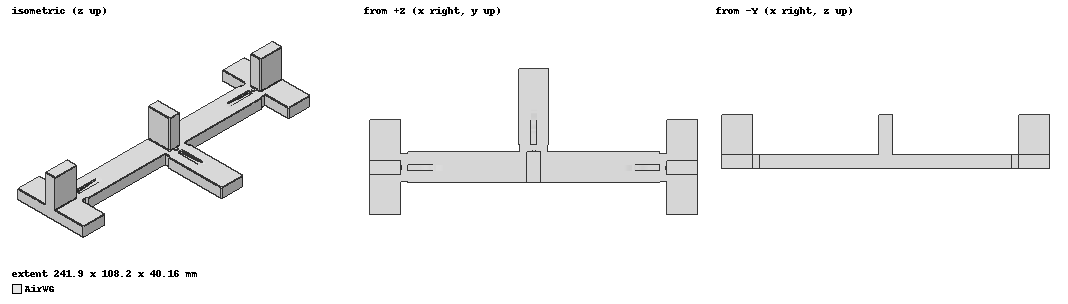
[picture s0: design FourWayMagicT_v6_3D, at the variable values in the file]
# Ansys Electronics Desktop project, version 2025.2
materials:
  vacuum: permittivity=1
  pec: conductivity=1e+30
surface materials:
  Steel-oxidised-surface

design FourWayMagicT_v6_3D (HFSS, HFSS Modal Network, model units mm)
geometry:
  AirWG [vacuum] = box(corner=(-35mm, -11.43mm, -5.08mm), size=(70mm, 22.86mm, 10.16mm))
  HArmAir = box(corner=(-11.43mm, 11.43mm, -5.08mm), size=(22.86mm, 61.729mm, 10.16mm))
  EArmAir = box(corner=(-5.08mm, -11.43mm, 5.08mm), size=(10.16mm, 22.86mm, 30mm))
  AirWG.unite(HArmAir, EArmAir)
  HThroat1Wall_Left = box(corner=(-11.43mm, 11.43mm, -5.08mm), size=(1.23mm, 5.5mm, 10.16mm))
  HThroat1Wall_Right = box(corner=(10.2mm, 11.43mm, -5.08mm), size=(1.23mm, 5.5mm, 10.16mm))
  AirWG.subtract(HThroat1Wall_Left, HThroat1Wall_Right)
  JunctionPost_Lower = cylinder(axis=Z, base_centre=(0mm, 0mm, -5.08mm), radius=1.4mm, height=6.2mm)
  JunctionPost_Upper = cylinder(axis=Z, base_centre=(0mm, 0mm, 1.12mm), radius=0.9mm, height=10.05mm)
  AirWG.subtract(JunctionPost_Lower, JunctionPost_Upper)
  JunctionPost_Top = cylinder(axis=Z, base_centre=(0mm, 13.43mm, 4.38mm), radius=1.5mm, height=0.7mm)
  JunctionPost_Bottom = cylinder(axis=Z, base_centre=(0mm, 13.43mm, -5.08mm), radius=1.5mm, height=0.7mm)
  AirWG.subtract(JunctionPost_Top, JunctionPost_Bottom)
  RidgeTop_terminal = box(corner=(-2.286mm, 16.93mm, 2.9mm), size=(4.572mm, 7.5mm, 2.18mm))
  RidgeBot_terminal = box(corner=(-2.286mm, 16.93mm, -5.08mm), size=(4.572mm, 7.5mm, 2.18mm))
  RidgeTop_00 = box(corner=(-2.286mm, 24.43mm, 2.9045879mm), size=(4.572mm, 0.780375mm, 2.1754121mm))
  RidgeBot_00 = box(corner=(-2.286mm, 24.43mm, -5.08mm), size=(4.572mm, 0.780375mm, 2.1754121mm))
  RidgeTop_01 = box(corner=(-2.286mm, 25.210375mm, 2.9390217mm), size=(4.572mm, 0.780375mm, 2.1409783mm))
  RidgeBot_01 = box(corner=(-2.286mm, 25.210375mm, -5.08mm), size=(4.572mm, 0.780375mm, 2.1409783mm))
  RidgeTop_02 = box(corner=(-2.286mm, 25.99075mm, 3.0025054mm), size=(4.572mm, 0.780375mm, 2.0774946mm))
  RidgeBot_02 = box(corner=(-2.286mm, 25.99075mm, -5.08mm), size=(4.572mm, 0.780375mm, 2.0774946mm))
  RidgeTop_03 = box(corner=(-2.286mm, 26.771125mm, 3.0898004mm), size=(4.572mm, 0.780375mm, 1.9901996mm))
  RidgeBot_03 = box(corner=(-2.286mm, 26.771125mm, -5.08mm), size=(4.572mm, 0.780375mm, 1.9901996mm))
  RidgeTop_04 = box(corner=(-2.286mm, 27.5515mm, 3.1955498mm), size=(4.572mm, 0.780375mm, 1.8844502mm))
  RidgeBot_04 = box(corner=(-2.286mm, 27.5515mm, -5.08mm), size=(4.572mm, 0.780375mm, 1.8844502mm))
  RidgeTop_05 = box(corner=(-2.286mm, 28.331875mm, 3.3138448mm), size=(4.572mm, 0.780375mm, 1.7661552mm))
  RidgeBot_05 = box(corner=(-2.286mm, 28.331875mm, -5.08mm), size=(4.572mm, 0.780375mm, 1.7661552mm))
  RidgeTop_06 = box(corner=(-2.286mm, 29.11225mm, 3.4378987mm), size=(4.572mm, 0.780375mm, 1.6421013mm))
  RidgeBot_06 = box(corner=(-2.286mm, 29.11225mm, -5.08mm), size=(4.572mm, 0.780375mm, 1.6421013mm))
  RidgeTop_07 = box(corner=(-2.286mm, 29.892625mm, 3.5598461mm), size=(4.572mm, 0.780375mm, 1.5201539mm))
  RidgeBot_07 = box(corner=(-2.286mm, 29.892625mm, -5.08mm), size=(4.572mm, 0.780375mm, 1.5201539mm))
  RidgeTop_08 = box(corner=(-2.286mm, 30.673mm, 3.6707051mm), size=(4.572mm, 0.780375mm, 1.4092949mm))
  RidgeBot_08 = box(corner=(-2.286mm, 30.673mm, -5.08mm), size=(4.572mm, 0.780375mm, 1.4092949mm))
  RidgeTop_09 = box(corner=(-2.286mm, 31.453375mm, 3.760545mm), size=(4.572mm, 0.780375mm, 1.319455mm))
  RidgeBot_09 = box(corner=(-2.286mm, 31.453375mm, -5.08mm), size=(4.572mm, 0.780375mm, 1.319455mm))
  RidgeTop_10 = box(corner=(-2.286mm, 32.23375mm, 3.8188977mm), size=(4.572mm, 0.780375mm, 1.2611023mm))
  RidgeBot_10 = box(corner=(-2.286mm, 32.23375mm, -5.08mm), size=(4.572mm, 0.780375mm, 1.2611023mm))
  RidgeTop_11 = box(corner=(-2.286mm, 33.014125mm, 3.8364529mm), size=(4.572mm, 0.780375mm, 1.2435471mm))
  RidgeBot_11 = box(corner=(-2.286mm, 33.014125mm, -5.08mm), size=(4.572mm, 0.780375mm, 1.2435471mm))
  RidgeTop_12 = box(corner=(-2.286mm, 33.7945mm, 3.8611898mm), size=(4.572mm, 0.780375mm, 1.2188102mm))
  RidgeBot_12 = box(corner=(-2.286mm, 33.7945mm, -5.08mm), size=(4.572mm, 0.780375mm, 1.2188102mm))
  RidgeTop_13 = box(corner=(-2.286mm, 34.574875mm, 3.9197126mm), size=(4.572mm, 0.780375mm, 1.1602874mm))
  RidgeBot_13 = box(corner=(-2.286mm, 34.574875mm, -5.08mm), size=(4.572mm, 0.780375mm, 1.1602874mm))
  RidgeTop_14 = box(corner=(-2.286mm, 35.35525mm, 4.006877mm), size=(4.572mm, 0.780375mm, 1.073123mm))
  RidgeBot_14 = box(corner=(-2.286mm, 35.35525mm, -5.08mm), size=(4.572mm, 0.780375mm, 1.073123mm))
  RidgeTop_15 = box(corner=(-2.286mm, 36.135625mm, 4.1176881mm), size=(4.572mm, 0.780375mm, 0.96231194mm))
  RidgeBot_15 = box(corner=(-2.286mm, 36.135625mm, -5.08mm), size=(4.572mm, 0.780375mm, 0.96231194mm))
  RidgeTop_16 = box(corner=(-2.286mm, 36.916mm, 4.2469137mm), size=(4.572mm, 0.780375mm, 0.83308627mm))
  RidgeBot_16 = box(corner=(-2.286mm, 36.916mm, -5.08mm), size=(4.572mm, 0.780375mm, 0.83308627mm))
  RidgeTop_17 = box(corner=(-2.286mm, 37.696375mm, 4.3887711mm), size=(4.572mm, 0.780375mm, 0.69122892mm))
  RidgeBot_17 = box(corner=(-2.286mm, 37.696375mm, -5.08mm), size=(4.572mm, 0.780375mm, 0.69122892mm))
  RidgeTop_18 = box(corner=(-2.286mm, 38.47675mm, 4.5366872mm), size=(4.572mm, 0.780375mm, 0.54331279mm))
  RidgeBot_18 = box(corner=(-2.286mm, 38.47675mm, -5.08mm), size=(4.572mm, 0.780375mm, 0.54331279mm))
  RidgeTop_19 = box(corner=(-2.286mm, 39.257125mm, 4.6831502mm), size=(4.572mm, 0.780375mm, 0.39684976mm))
  RidgeBot_19 = box(corner=(-2.286mm, 39.257125mm, -5.08mm), size=(4.572mm, 0.780375mm, 0.39684976mm))
  RidgeTop_20 = box(corner=(-2.286mm, 40.0375mm, 4.8196735mm), size=(4.572mm, 0.780375mm, 0.26032653mm))
  RidgeBot_20 = box(corner=(-2.286mm, 40.0375mm, -5.08mm), size=(4.572mm, 0.780375mm, 0.26032653mm))
  RidgeTop_21 = box(corner=(-2.286mm, 40.817875mm, 4.9369001mm), size=(4.572mm, 0.780375mm, 0.14309991mm))
  RidgeBot_21 = box(corner=(-2.286mm, 40.817875mm, -5.08mm), size=(4.572mm, 0.780375mm, 0.14309991mm))
  RidgeTop_22 = box(corner=(-2.286mm, 41.59825mm, 5.0248741mm), size=(4.572mm, 0.780375mm, 0.055125897mm))
  RidgeBot_22 = box(corner=(-2.286mm, 41.59825mm, -5.08mm), size=(4.572mm, 0.780375mm, 0.055125897mm))
  RidgeTop_23 = box(corner=(-2.286mm, 42.378625mm, 5.0734932mm), size=(4.572mm, 0.780375mm, 0.0065068169mm))
  RidgeBot_23 = box(corner=(-2.286mm, 42.378625mm, -5.08mm), size=(4.572mm, 0.780375mm, 0.0065068169mm))
  AirWG.subtract(RidgeTop_terminal, RidgeBot_terminal, RidgeTop_00, RidgeBot_00, RidgeTop_01, RidgeBot_01, RidgeTop_02, RidgeBot_02, RidgeTop_03, RidgeBot_03, RidgeTop_04, RidgeBot_04, RidgeTop_05, RidgeBot_05, RidgeTop_06, RidgeBot_06, RidgeTop_07, RidgeBot_07, RidgeTop_08, RidgeBot_08, RidgeTop_09, RidgeBot_09, RidgeTop_10, RidgeBot_10, RidgeTop_11, RidgeBot_11, RidgeTop_12, RidgeBot_12, RidgeTop_13, RidgeBot_13, RidgeTop_14, RidgeBot_14, RidgeTop_15, RidgeBot_15, RidgeTop_16, RidgeBot_16, RidgeTop_17, RidgeBot_17, RidgeTop_18, RidgeBot_18, RidgeTop_19, RidgeBot_19, RidgeTop_20, RidgeBot_20, RidgeTop_21, RidgeBot_21, RidgeTop_22, RidgeBot_22, RidgeTop_23, RidgeBot_23)
  CellA_Air = box(corner=(-35mm, -11.43mm, -5.08mm), size=(70mm, 22.86mm, 10.16mm))
  HArmAir1 = box(corner=(-11.43mm, 11.43mm, -5.08mm), size=(22.86mm, 61.729mm, 10.16mm))
  EArmAir1 = box(corner=(-5.08mm, -11.43mm, 5.08mm), size=(10.16mm, 22.86mm, 30mm))
  CellA_Air.unite(HArmAir1, EArmAir1)
  HThroat1Wall_Left1 = box(corner=(-11.43mm, 11.43mm, -5.08mm), size=(1.23mm, 5.5mm, 10.16mm))
  HThroat1Wall_Right1 = box(corner=(10.2mm, 11.43mm, -5.08mm), size=(1.23mm, 5.5mm, 10.16mm))
  CellA_Air.subtract(HThroat1Wall_Left1, HThroat1Wall_Right1)
  JunctionPost_Lower1 = cylinder(axis=Z, base_centre=(0mm, 0mm, -5.08mm), radius=1.4mm, height=6.2mm)
  JunctionPost_Upper1 = cylinder(axis=Z, base_centre=(0mm, 0mm, 1.12mm), radius=0.9mm, height=10.05mm)
  CellA_Air.subtract(JunctionPost_Lower1, JunctionPost_Upper1)
  JunctionPost_Top1 = cylinder(axis=Z, base_centre=(0mm, 13.43mm, 4.38mm), radius=1.5mm, height=0.7mm)
  JunctionPost_Bottom1 = cylinder(axis=Z, base_centre=(0mm, 13.43mm, -5.08mm), radius=1.5mm, height=0.7mm)
  CellA_Air.subtract(JunctionPost_Top1, JunctionPost_Bottom1)
  RidgeTop_terminal1 = box(corner=(-2.286mm, 16.93mm, 2.9mm), size=(4.572mm, 7.5mm, 2.18mm))
  RidgeBot_terminal1 = box(corner=(-2.286mm, 16.93mm, -5.08mm), size=(4.572mm, 7.5mm, 2.18mm))
  RidgeTop_001 = box(corner=(-2.286mm, 24.43mm, 2.9045879mm), size=(4.572mm, 0.780375mm, 2.1754121mm))
  RidgeBot_001 = box(corner=(-2.286mm, 24.43mm, -5.08mm), size=(4.572mm, 0.780375mm, 2.1754121mm))
  RidgeTop_010 = box(corner=(-2.286mm, 25.210375mm, 2.9390217mm), size=(4.572mm, 0.780375mm, 2.1409783mm))
  RidgeBot_010 = box(corner=(-2.286mm, 25.210375mm, -5.08mm), size=(4.572mm, 0.780375mm, 2.1409783mm))
  RidgeTop_011 = box(corner=(-2.286mm, 25.99075mm, 3.0025054mm), size=(4.572mm, 0.780375mm, 2.0774946mm))
  RidgeBot_011 = box(corner=(-2.286mm, 25.99075mm, -5.08mm), size=(4.572mm, 0.780375mm, 2.0774946mm))
  RidgeTop_012 = box(corner=(-2.286mm, 26.771125mm, 3.0898004mm), size=(4.572mm, 0.780375mm, 1.9901996mm))
  RidgeBot_012 = box(corner=(-2.286mm, 26.771125mm, -5.08mm), size=(4.572mm, 0.780375mm, 1.9901996mm))
  RidgeTop_013 = box(corner=(-2.286mm, 27.5515mm, 3.1955498mm), size=(4.572mm, 0.780375mm, 1.8844502mm))
  RidgeBot_013 = box(corner=(-2.286mm, 27.5515mm, -5.08mm), size=(4.572mm, 0.780375mm, 1.8844502mm))
  RidgeTop_014 = box(corner=(-2.286mm, 28.331875mm, 3.3138448mm), size=(4.572mm, 0.780375mm, 1.7661552mm))
  RidgeBot_014 = box(corner=(-2.286mm, 28.331875mm, -5.08mm), size=(4.572mm, 0.780375mm, 1.7661552mm))
  RidgeTop_015 = box(corner=(-2.286mm, 29.11225mm, 3.4378987mm), size=(4.572mm, 0.780375mm, 1.6421013mm))
  RidgeBot_015 = box(corner=(-2.286mm, 29.11225mm, -5.08mm), size=(4.572mm, 0.780375mm, 1.6421013mm))
  RidgeTop_016 = box(corner=(-2.286mm, 29.892625mm, 3.5598461mm), size=(4.572mm, 0.780375mm, 1.5201539mm))
  RidgeBot_016 = box(corner=(-2.286mm, 29.892625mm, -5.08mm), size=(4.572mm, 0.780375mm, 1.5201539mm))
  RidgeTop_017 = box(corner=(-2.286mm, 30.673mm, 3.6707051mm), size=(4.572mm, 0.780375mm, 1.4092949mm))
  RidgeBot_017 = box(corner=(-2.286mm, 30.673mm, -5.08mm), size=(4.572mm, 0.780375mm, 1.4092949mm))
  RidgeTop_018 = box(corner=(-2.286mm, 31.453375mm, 3.760545mm), size=(4.572mm, 0.780375mm, 1.319455mm))
  RidgeBot_018 = box(corner=(-2.286mm, 31.453375mm, -5.08mm), size=(4.572mm, 0.780375mm, 1.319455mm))
  RidgeTop_24 = box(corner=(-2.286mm, 32.23375mm, 3.8188977mm), size=(4.572mm, 0.780375mm, 1.2611023mm))
  RidgeBot_24 = box(corner=(-2.286mm, 32.23375mm, -5.08mm), size=(4.572mm, 0.780375mm, 1.2611023mm))
  RidgeTop_25 = box(corner=(-2.286mm, 33.014125mm, 3.8364529mm), size=(4.572mm, 0.780375mm, 1.2435471mm))
  RidgeBot_25 = box(corner=(-2.286mm, 33.014125mm, -5.08mm), size=(4.572mm, 0.780375mm, 1.2435471mm))
  RidgeTop_26 = box(corner=(-2.286mm, 33.7945mm, 3.8611898mm), size=(4.572mm, 0.780375mm, 1.2188102mm))
  RidgeBot_26 = box(corner=(-2.286mm, 33.7945mm, -5.08mm), size=(4.572mm, 0.780375mm, 1.2188102mm))
  RidgeTop_27 = box(corner=(-2.286mm, 34.574875mm, 3.9197126mm), size=(4.572mm, 0.780375mm, 1.1602874mm))
  RidgeBot_27 = box(corner=(-2.286mm, 34.574875mm, -5.08mm), size=(4.572mm, 0.780375mm, 1.1602874mm))
  RidgeTop_28 = box(corner=(-2.286mm, 35.35525mm, 4.006877mm), size=(4.572mm, 0.780375mm, 1.073123mm))
  RidgeBot_28 = box(corner=(-2.286mm, 35.35525mm, -5.08mm), size=(4.572mm, 0.780375mm, 1.073123mm))
  RidgeTop_29 = box(corner=(-2.286mm, 36.135625mm, 4.1176881mm), size=(4.572mm, 0.780375mm, 0.96231194mm))
  RidgeBot_29 = box(corner=(-2.286mm, 36.135625mm, -5.08mm), size=(4.572mm, 0.780375mm, 0.96231194mm))
  RidgeTop_30 = box(corner=(-2.286mm, 36.916mm, 4.2469137mm), size=(4.572mm, 0.780375mm, 0.83308627mm))
  RidgeBot_30 = box(corner=(-2.286mm, 36.916mm, -5.08mm), size=(4.572mm, 0.780375mm, 0.83308627mm))
  RidgeTop_31 = box(corner=(-2.286mm, 37.696375mm, 4.3887711mm), size=(4.572mm, 0.780375mm, 0.69122892mm))
  RidgeBot_31 = box(corner=(-2.286mm, 37.696375mm, -5.08mm), size=(4.572mm, 0.780375mm, 0.69122892mm))
  RidgeTop_32 = box(corner=(-2.286mm, 38.47675mm, 4.5366872mm), size=(4.572mm, 0.780375mm, 0.54331279mm))
  RidgeBot_32 = box(corner=(-2.286mm, 38.47675mm, -5.08mm), size=(4.572mm, 0.780375mm, 0.54331279mm))
  RidgeTop_33 = box(corner=(-2.286mm, 39.257125mm, 4.6831502mm), size=(4.572mm, 0.780375mm, 0.39684976mm))
  RidgeBot_33 = box(corner=(-2.286mm, 39.257125mm, -5.08mm), size=(4.572mm, 0.780375mm, 0.39684976mm))
  RidgeTop_34 = box(corner=(-2.286mm, 40.0375mm, 4.8196735mm), size=(4.572mm, 0.780375mm, 0.26032653mm))
  RidgeBot_34 = box(corner=(-2.286mm, 40.0375mm, -5.08mm), size=(4.572mm, 0.780375mm, 0.26032653mm))
  RidgeTop_35 = box(corner=(-2.286mm, 40.817875mm, 4.9369001mm), size=(4.572mm, 0.780375mm, 0.14309991mm))
  RidgeBot_35 = box(corner=(-2.286mm, 40.817875mm, -5.08mm), size=(4.572mm, 0.780375mm, 0.14309991mm))
  RidgeTop_36 = box(corner=(-2.286mm, 41.59825mm, 5.0248741mm), size=(4.572mm, 0.780375mm, 0.055125897mm))
  RidgeBot_36 = box(corner=(-2.286mm, 41.59825mm, -5.08mm), size=(4.572mm, 0.780375mm, 0.055125897mm))
  RidgeTop_37 = box(corner=(-2.286mm, 42.378625mm, 5.0734932mm), size=(4.572mm, 0.780375mm, 0.0065068169mm))
  RidgeBot_37 = box(corner=(-2.286mm, 42.378625mm, -5.08mm), size=(4.572mm, 0.780375mm, 0.0065068169mm))
  CellA_Air.subtract(RidgeTop_terminal1, RidgeBot_terminal1, RidgeTop_001, RidgeBot_001, RidgeTop_010, RidgeBot_010, RidgeTop_011, RidgeBot_011, RidgeTop_012, RidgeBot_012, RidgeTop_013, RidgeBot_013, RidgeTop_014, RidgeBot_014, RidgeTop_015, RidgeBot_015, RidgeTop_016, RidgeBot_016, RidgeTop_017, RidgeBot_017, RidgeTop_018, RidgeBot_018, RidgeTop_24, RidgeBot_24, RidgeTop_25, RidgeBot_25, RidgeTop_26, RidgeBot_26, RidgeTop_27, RidgeBot_27, RidgeTop_28, RidgeBot_28, RidgeTop_29, RidgeBot_29, RidgeTop_30, RidgeBot_30, RidgeTop_31, RidgeBot_31, RidgeTop_32, RidgeBot_32, RidgeTop_33, RidgeBot_33, RidgeTop_34, RidgeBot_34, RidgeTop_35, RidgeBot_35, RidgeTop_36, RidgeBot_36, RidgeTop_37, RidgeBot_37)
  CellB_Air = box(corner=(-35mm, -11.43mm, -5.08mm), size=(70mm, 22.86mm, 10.16mm))
  HArmAir2 = box(corner=(-11.43mm, 11.43mm, -5.08mm), size=(22.86mm, 61.729mm, 10.16mm))
  EArmAir2 = box(corner=(-5.08mm, -11.43mm, 5.08mm), size=(10.16mm, 22.86mm, 30mm))
  CellB_Air.unite(HArmAir2, EArmAir2)
  HThroat1Wall_Left2 = box(corner=(-11.43mm, 11.43mm, -5.08mm), size=(1.23mm, 5.5mm, 10.16mm))
  HThroat1Wall_Right2 = box(corner=(10.2mm, 11.43mm, -5.08mm), size=(1.23mm, 5.5mm, 10.16mm))
  CellB_Air.subtract(HThroat1Wall_Left2, HThroat1Wall_Right2)
  JunctionPost_Lower2 = cylinder(axis=Z, base_centre=(0mm, 0mm, -5.08mm), radius=1.4mm, height=6.2mm)
  JunctionPost_Upper2 = cylinder(axis=Z, base_centre=(0mm, 0mm, 1.12mm), radius=0.9mm, height=10.05mm)
  CellB_Air.subtract(JunctionPost_Lower2, JunctionPost_Upper2)
  JunctionPost_Top2 = cylinder(axis=Z, base_centre=(0mm, 13.43mm, 4.38mm), radius=1.5mm, height=0.7mm)
  JunctionPost_Bottom2 = cylinder(axis=Z, base_centre=(0mm, 13.43mm, -5.08mm), radius=1.5mm, height=0.7mm)
  CellB_Air.subtract(JunctionPost_Top2, JunctionPost_Bottom2)
  RidgeTop_terminal2 = box(corner=(-2.286mm, 16.93mm, 2.9mm), size=(4.572mm, 7.5mm, 2.18mm))
  RidgeBot_terminal2 = box(corner=(-2.286mm, 16.93mm, -5.08mm), size=(4.572mm, 7.5mm, 2.18mm))
  RidgeTop_002 = box(corner=(-2.286mm, 24.43mm, 2.9045879mm), size=(4.572mm, 0.780375mm, 2.1754121mm))
  RidgeBot_002 = box(corner=(-2.286mm, 24.43mm, -5.08mm), size=(4.572mm, 0.780375mm, 2.1754121mm))
  RidgeTop_019 = box(corner=(-2.286mm, 25.210375mm, 2.9390217mm), size=(4.572mm, 0.780375mm, 2.1409783mm))
  RidgeBot_019 = box(corner=(-2.286mm, 25.210375mm, -5.08mm), size=(4.572mm, 0.780375mm, 2.1409783mm))
  RidgeTop_020 = box(corner=(-2.286mm, 25.99075mm, 3.0025054mm), size=(4.572mm, 0.780375mm, 2.0774946mm))
  RidgeBot_020 = box(corner=(-2.286mm, 25.99075mm, -5.08mm), size=(4.572mm, 0.780375mm, 2.0774946mm))
  RidgeTop_021 = box(corner=(-2.286mm, 26.771125mm, 3.0898004mm), size=(4.572mm, 0.780375mm, 1.9901996mm))
  RidgeBot_021 = box(corner=(-2.286mm, 26.771125mm, -5.08mm), size=(4.572mm, 0.780375mm, 1.9901996mm))
  RidgeTop_022 = box(corner=(-2.286mm, 27.5515mm, 3.1955498mm), size=(4.572mm, 0.780375mm, 1.8844502mm))
  RidgeBot_022 = box(corner=(-2.286mm, 27.5515mm, -5.08mm), size=(4.572mm, 0.780375mm, 1.8844502mm))
  RidgeTop_023 = box(corner=(-2.286mm, 28.331875mm, 3.3138448mm), size=(4.572mm, 0.780375mm, 1.7661552mm))
  RidgeBot_023 = box(corner=(-2.286mm, 28.331875mm, -5.08mm), size=(4.572mm, 0.780375mm, 1.7661552mm))
  RidgeTop_024 = box(corner=(-2.286mm, 29.11225mm, 3.4378987mm), size=(4.572mm, 0.780375mm, 1.6421013mm))
  RidgeBot_024 = box(corner=(-2.286mm, 29.11225mm, -5.08mm), size=(4.572mm, 0.780375mm, 1.6421013mm))
  RidgeTop_025 = box(corner=(-2.286mm, 29.892625mm, 3.5598461mm), size=(4.572mm, 0.780375mm, 1.5201539mm))
  RidgeBot_025 = box(corner=(-2.286mm, 29.892625mm, -5.08mm), size=(4.572mm, 0.780375mm, 1.5201539mm))
  RidgeTop_026 = box(corner=(-2.286mm, 30.673mm, 3.6707051mm), size=(4.572mm, 0.780375mm, 1.4092949mm))
  RidgeBot_026 = box(corner=(-2.286mm, 30.673mm, -5.08mm), size=(4.572mm, 0.780375mm, 1.4092949mm))
  RidgeTop_027 = box(corner=(-2.286mm, 31.453375mm, 3.760545mm), size=(4.572mm, 0.780375mm, 1.319455mm))
  RidgeBot_027 = box(corner=(-2.286mm, 31.453375mm, -5.08mm), size=(4.572mm, 0.780375mm, 1.319455mm))
  RidgeTop_38 = box(corner=(-2.286mm, 32.23375mm, 3.8188977mm), size=(4.572mm, 0.780375mm, 1.2611023mm))
  RidgeBot_38 = box(corner=(-2.286mm, 32.23375mm, -5.08mm), size=(4.572mm, 0.780375mm, 1.2611023mm))
  RidgeTop_39 = box(corner=(-2.286mm, 33.014125mm, 3.8364529mm), size=(4.572mm, 0.780375mm, 1.2435471mm))
  RidgeBot_39 = box(corner=(-2.286mm, 33.014125mm, -5.08mm), size=(4.572mm, 0.780375mm, 1.2435471mm))
  RidgeTop_40 = box(corner=(-2.286mm, 33.7945mm, 3.8611898mm), size=(4.572mm, 0.780375mm, 1.2188102mm))
  RidgeBot_40 = box(corner=(-2.286mm, 33.7945mm, -5.08mm), size=(4.572mm, 0.780375mm, 1.2188102mm))
  RidgeTop_41 = box(corner=(-2.286mm, 34.574875mm, 3.9197126mm), size=(4.572mm, 0.780375mm, 1.1602874mm))
  RidgeBot_41 = box(corner=(-2.286mm, 34.574875mm, -5.08mm), size=(4.572mm, 0.780375mm, 1.1602874mm))
  RidgeTop_42 = box(corner=(-2.286mm, 35.35525mm, 4.006877mm), size=(4.572mm, 0.780375mm, 1.073123mm))
  RidgeBot_42 = box(corner=(-2.286mm, 35.35525mm, -5.08mm), size=(4.572mm, 0.780375mm, 1.073123mm))
  RidgeTop_43 = box(corner=(-2.286mm, 36.135625mm, 4.1176881mm), size=(4.572mm, 0.780375mm, 0.96231194mm))
  RidgeBot_43 = box(corner=(-2.286mm, 36.135625mm, -5.08mm), size=(4.572mm, 0.780375mm, 0.96231194mm))
  RidgeTop_44 = box(corner=(-2.286mm, 36.916mm, 4.2469137mm), size=(4.572mm, 0.780375mm, 0.83308627mm))
  RidgeBot_44 = box(corner=(-2.286mm, 36.916mm, -5.08mm), size=(4.572mm, 0.780375mm, 0.83308627mm))
  RidgeTop_45 = box(corner=(-2.286mm, 37.696375mm, 4.3887711mm), size=(4.572mm, 0.780375mm, 0.69122892mm))
  RidgeBot_45 = box(corner=(-2.286mm, 37.696375mm, -5.08mm), size=(4.572mm, 0.780375mm, 0.69122892mm))
  RidgeTop_46 = box(corner=(-2.286mm, 38.47675mm, 4.5366872mm), size=(4.572mm, 0.780375mm, 0.54331279mm))
  RidgeBot_46 = box(corner=(-2.286mm, 38.47675mm, -5.08mm), size=(4.572mm, 0.780375mm, 0.54331279mm))
  RidgeTop_47 = box(corner=(-2.286mm, 39.257125mm, 4.6831502mm), size=(4.572mm, 0.780375mm, 0.39684976mm))
  RidgeBot_47 = box(corner=(-2.286mm, 39.257125mm, -5.08mm), size=(4.572mm, 0.780375mm, 0.39684976mm))
  RidgeTop_48 = box(corner=(-2.286mm, 40.0375mm, 4.8196735mm), size=(4.572mm, 0.780375mm, 0.26032653mm))
  RidgeBot_48 = box(corner=(-2.286mm, 40.0375mm, -5.08mm), size=(4.572mm, 0.780375mm, 0.26032653mm))
  RidgeTop_49 = box(corner=(-2.286mm, 40.817875mm, 4.9369001mm), size=(4.572mm, 0.780375mm, 0.14309991mm))
  RidgeBot_49 = box(corner=(-2.286mm, 40.817875mm, -5.08mm), size=(4.572mm, 0.780375mm, 0.14309991mm))
  RidgeTop_50 = box(corner=(-2.286mm, 41.59825mm, 5.0248741mm), size=(4.572mm, 0.780375mm, 0.055125897mm))
  RidgeBot_50 = box(corner=(-2.286mm, 41.59825mm, -5.08mm), size=(4.572mm, 0.780375mm, 0.055125897mm))
  RidgeTop_51 = box(corner=(-2.286mm, 42.378625mm, 5.0734932mm), size=(4.572mm, 0.780375mm, 0.0065068169mm))
  RidgeBot_51 = box(corner=(-2.286mm, 42.378625mm, -5.08mm), size=(4.572mm, 0.780375mm, 0.0065068169mm))
  CellB_Air.subtract(RidgeTop_terminal2, RidgeBot_terminal2, RidgeTop_002, RidgeBot_002, RidgeTop_019, RidgeBot_019, RidgeTop_020, RidgeBot_020, RidgeTop_021, RidgeBot_021, RidgeTop_022, RidgeBot_022, RidgeTop_023, RidgeBot_023, RidgeTop_024, RidgeBot_024, RidgeTop_025, RidgeBot_025, RidgeTop_026, RidgeBot_026, RidgeTop_027, RidgeBot_027, RidgeTop_38, RidgeBot_38, RidgeTop_39, RidgeBot_39, RidgeTop_40, RidgeBot_40, RidgeTop_41, RidgeBot_41, RidgeTop_42, RidgeBot_42, RidgeTop_43, RidgeBot_43, RidgeTop_44, RidgeBot_44, RidgeTop_45, RidgeBot_45, RidgeTop_46, RidgeBot_46, RidgeTop_47, RidgeBot_47, RidgeTop_48, RidgeBot_48, RidgeTop_49, RidgeBot_49, RidgeTop_50, RidgeBot_50, RidgeTop_51, RidgeBot_51)
  CellA_Air.rotate(axis=Z, angle=-90deg)
  CellB_Air.rotate(axis=Z, angle=90deg)
  CellA_Air.move(-109.539mm, 0mm, 0mm)
  CellB_Air.move(109.539mm, 0mm, 0mm)
  Interstage_A = box(corner=(-36.38mm, -11.43mm, -5.08mm), size=(1.38mm, 22.86mm, 10.16mm))
  Interstage_B = box(corner=(35mm, -11.43mm, -5.08mm), size=(1.38mm, 22.86mm, 10.16mm))
  AirWG.unite(CellA_Air, CellB_Air, Interstage_A, Interstage_B)
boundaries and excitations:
  PEC_WaveguideWalls: Perfect E Faces=AirWG.face(at (0, 42.3786, -5.04918), -z, at (0, 42.3786, 5.04918), +z, at (0, 41.5983, -4.98089), at (0, 41.5983, 4.98089), at (0, 40.8179, -4.87829), at (0, 40.8179, 4.87829), at (0, 40.0375, -4.75141), at (0, 40.0375, 4.75141), at (0, 39.2571, -4.60992), at (0, 39.2571, 4.60992)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)
  P1_IN1: Wave Port Faces=AirWG.face(at (-109.539, 35, 0)) WavePortType=Modal NumModes=1 Modes{Mode1{IntLine{(-109.539, 35, -5.08) -> (-109.539, 35, 5.08)} CharImp=Zwave}}
  P2_IN2: Wave Port Faces=AirWG.face(at (-109.539, -35, 0)) WavePortType=Modal NumModes=1 Modes{Mode1{IntLine{(-109.539, -35, -5.08) -> (-109.539, -35, 5.08)} CharImp=Zwave}}
  P3_IN3: Wave Port Faces=AirWG.face(at (109.539, -35, 0)) WavePortType=Modal NumModes=1 Modes{Mode1{IntLine{(109.539, -35, -5.08) -> (109.539, -35, 5.08)} CharImp=Zwave}}
  P4_IN4: Wave Port Faces=AirWG.face(at (109.539, 35, 0)) WavePortType=Modal NumModes=1 Modes{Mode1{IntLine{(109.539, 35, -5.08) -> (109.539, 35, 5.08)} CharImp=Zwave}}
  P5_OUT: Wave Port Faces=AirWG.face(at (0, 73.159, 0)) WavePortType=Modal NumModes=1 Modes{Mode1{IntLine{(0, 73.159, -5.08) -> (0, 73.159, 5.08)} CharImp=Zwave}}
  P6_DUMP_A: Wave Port Faces=AirWG.face(at (-109.539, 0, 35.08)) WavePortType=Modal NumModes=1 Modes{Mode1{IntLine{(-109.539, -5.08, 35.08) -> (-109.539, 5.08, 35.08)} CharImp=Zwave}}
  P7_DUMP_B: Wave Port Faces=AirWG.face(at (109.539, 0, 35.08)) WavePortType=Modal NumModes=1 Modes{Mode1{IntLine{(109.539, -5.08, 35.08) -> (109.539, 5.08, 35.08)} CharImp=Zwave}}
  P8_DUMP_C: Wave Port Faces=AirWG.face(at (0, 0, 35.08)) WavePortType=Modal NumModes=1 Modes{Mode1{IntLine{(-5.08, 0, 35.08) -> (5.08, 0, 35.08)} CharImp=Zwave}}
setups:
  Setup1: HfssDriven Frequency=10.2GHz MaxDeltaS=0.03 MaximumPasses=7 MinimumPasses=2 MinimumConvergedPasses=1 PercentRefinement=30 BasisOrder=1 PortAccuracy=2 DrivenSolverType="Direct Solver"
    sweep Sweep_9_11p5GHz: 9GHz to 11.5GHz, 51 points; Type=Interpolating InterpTolerance=0.75 InterpMaxSolns=250 InterpUsePortImped=false PassivityErrorTolerance=0.0001
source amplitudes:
  P1_IN1:1: 1W 0deg
  P2_IN2:1, P3_IN3:1, P4_IN4:1, P5_OUT:1, P6_DUMP_A:1, P7_DUMP_B:1, P8_DUMP_C:1: 0W 0deg
